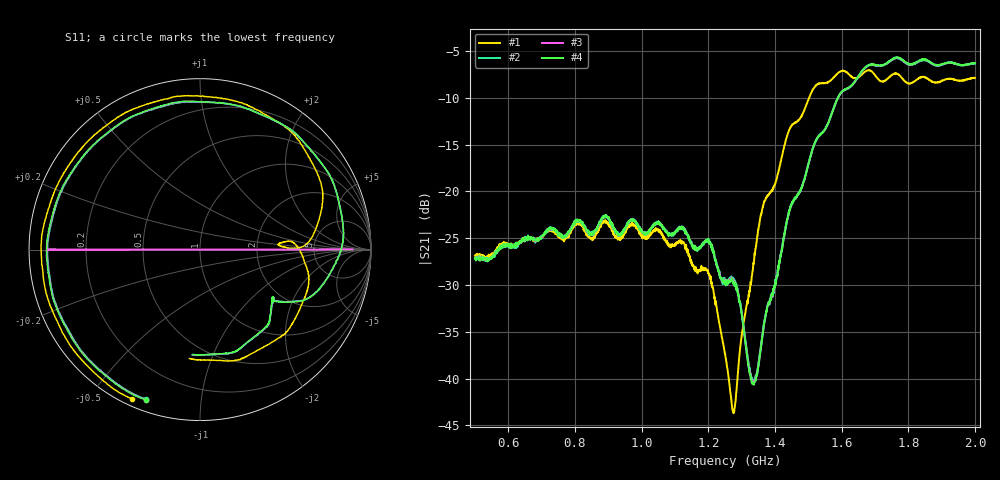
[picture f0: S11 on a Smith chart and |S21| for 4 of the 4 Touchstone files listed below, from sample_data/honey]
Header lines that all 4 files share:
! Anritsu VNA Master:  Model: MS2036C/2
! SN:  2120025
! Existing Calibration Information:
! TYPE:  Current Settings,  Active Cal Settings
! # POINTS:  2000,  2000
! START FREQ:  500.000 MHz,  500.000 MHz
! STOP FREQ:  2.000 GHz,  2.000 GHz
! SOURCE POWER:  High,  High
! IFBW:  10 kHz,  10 kHz
! AVG FACTOR:  1 ,  1
! REF PLANE 1:  0 mm,  0 mm
! REF PLANE 2:  0 mm,  0 mm
! CAL TYPE:  Full 2 Port,  Full 2 Port
! CAL METHOD:  SOLT,  SOLT
! CAL LINE TYPE:  Coax,  Coax
! DUT PORT 1:  N-Conn(M),  N-Conn(M)
! DUT PORT 2:  N-Conn(M),  N-Conn(M)
! CAL STATUS:  ?T: Accuracy moderate (|Temp diff| > 5.0 C),  --
# GHZ S MA R 50.0
! FREQ.GHZ  S11M  S11A  S21M  S21A  S12M  S12A  S22M  S22A
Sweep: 500 MHz to 2 GHz
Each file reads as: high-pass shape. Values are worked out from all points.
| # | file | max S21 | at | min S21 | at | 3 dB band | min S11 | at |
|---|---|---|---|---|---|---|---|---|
| 1 | 25.s2p | -7.05 dB | 1.683 GHz | -43.7 dB | 1.275 GHz | 1.503 GHz-2 GHz | -6.8 dB | 1.555 GHz |
| 2 | 50.s2p | -5.76 dB | 1.766 GHz | -40.4 dB | 1.337 GHz | 1.629 GHz-2 GHz | -5.8 dB | 1.695 GHz |
| 3 | 75_percent_honey.s2p | -5.72 dB | 1.766 GHz | -40.5 dB | 1.337 GHz | 1.63 GHz-2 GHz | -5.8 dB | 1.704 GHz |
| 4 | 100.s2p | -5.68 dB | 1.768 GHz | -40.7 dB | 1.337 GHz | 1.63 GHz-2 GHz | -5.9 dB | 1.714 GHz |
